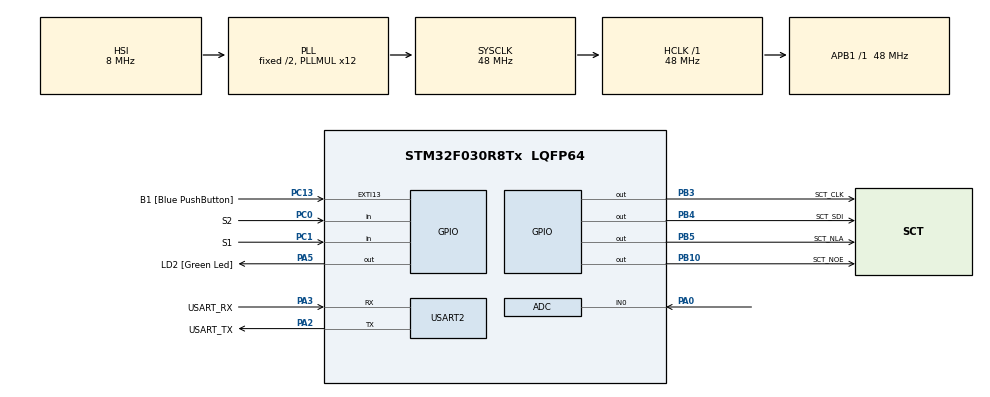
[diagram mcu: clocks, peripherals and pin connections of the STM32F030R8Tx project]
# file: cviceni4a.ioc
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ADC.ContinuousConvMode=ENABLE
ADC.DiscontinuousConvMode=DISABLE
ADC.Overrun=ADC_OVR_DATA_OVERWRITTEN
ADC.SamplingTime=ADC_SAMPLETIME_239CYCLES_5
Mcu.Family=STM32F0
Mcu.Name=STM32F030R8Tx
Mcu.Package=LQFP64
NVIC.ADC1_IRQn=true\:0\:0\:false\:false\:true\:true\:true\:true
PA0.Mode=IN0
PA0.Signal=ADC_IN0
PA13.GPIO_Label=TMS
PA13.Mode=Serial_Wire
PA13.Signal=SYS_SWDIO
PA14.GPIO_Label=TCK
PA14.Mode=Serial_Wire
PA14.Signal=SYS_SWCLK
PA2.GPIO_Label=USART_TX
PA2.GPIO_Mode=GPIO_MODE_AF_PP
PA2.GPIO_PuPd=GPIO_NOPULL
PA2.GPIO_Speed=GPIO_SPEED_FREQ_LOW
PA2.Mode=Asynchronous
PA2.Signal=USART2_TX
PA3.GPIO_Label=USART_RX
PA3.GPIO_Mode=GPIO_MODE_AF_PP
PA3.GPIO_PuPd=GPIO_NOPULL
PA3.GPIO_Speed=GPIO_SPEED_FREQ_LOW
PA3.Mode=Asynchronous
PA3.Signal=USART2_RX
PA5.GPIO_Label=LD2 [Green Led]
PA5.GPIO_Mode=GPIO_MODE_OUTPUT_PP
PA5.GPIO_PuPd=GPIO_NOPULL
PA5.GPIO_Speed=GPIO_SPEED_FREQ_LOW
PA5.Signal=GPIO_Output
PB10.GPIO_Label=SCT_NOE
PB10.Signal=GPIO_Output
PB3.GPIO_Label=SCT_CLK
PB3.Signal=GPIO_Output
PB4.GPIO_Label=SCT_SDI
PB4.Signal=GPIO_Output
PB5.GPIO_Label=SCT_NLA
PB5.Signal=GPIO_Output
PC0.GPIO_Label=S2
PC0.GPIO_PuPd=GPIO_PULLUP
PC0.Signal=GPIO_Input
PC1.GPIO_Label=S1
PC1.GPIO_PuPd=GPIO_PULLUP
PC1.Signal=GPIO_Input
PC13.GPIO_Label=B1 [Blue PushButton]
PC13.GPIO_ModeDefaultEXTI=GPIO_MODE_IT_FALLING
PC13.Signal=GPXTI13
PC14-OSC32_IN.Mode=LSE-External-Oscillator
PC14-OSC32_IN.Signal=RCC_OSC32_IN
PC15-OSC32_OUT.Mode=LSE-External-Oscillator
PC15-OSC32_OUT.Signal=RCC_OSC32_OUT
PF0-OSC_IN.Mode=HSE-External-Clock-Source
PF0-OSC_IN.Signal=RCC_OSC_IN
PF1-OSC_OUT.Signal=RCC_OSC_OUT
ProjectManager.HeapSize=0x200
ProjectManager.StackSize=0x400
ProjectManager.TargetToolchain=STM32CubeIDE
RCC.AHBFreq_Value=48000000
RCC.APB1Freq_Value=48000000
RCC.APB1TimFreq_Value=48000000
RCC.HCLKFreq_Value=48000000
RCC.PLLMUL=RCC_PLL_MUL12
RCC.SYSCLKFreq_VALUE=48000000
RCC.SYSCLKSource=RCC_SYSCLKSOURCE_PLLCLK
USART2.VirtualMode-Asynchronous=VM_ASYNC
VP_ADC_TempSens_Input.Mode=IN-TempSens
VP_ADC_Vref_Input.Mode=IN-Vrefint
board=NUCLEO-F030R8

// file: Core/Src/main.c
/* USER CODE BEGIN Header */
/**
  ******************************************************************************
  * @file           : main.c
  * @brief          : Main program body
  ******************************************************************************
  * @attention
  *
  * Copyright (c) 2023 STMicroelectronics.
  * All rights reserved.
  *
  * This software is licensed under terms that can be found in the LICENSE file
  * in the root directory of this software component.
  * If no LICENSE file comes with this software, it is provided AS-IS.
  *
  ******************************************************************************
  */
/* USER CODE END Header */
#include "main.h"

/* USER CODE BEGIN Includes */
#include "sct.h"
/* USER CODE END Includes */

/* USER CODE BEGIN PD */
#define ADC_Q 12
#define DELAY 1000
/* Temperature sensor calibration value address */
#define TEMP110_CAL_ADDR ((uint16_t*) ((uint32_t) 0x1FFFF7C2))
#define TEMP30_CAL_ADDR ((uint16_t*) ((uint32_t) 0x1FFFF7B8))
/* Internal voltage reference calibration value address */
#define VREFINT_CAL_ADDR ((uint16_t*) ((uint32_t) 0x1FFFF7BA))
/* USER CODE END PD */

ADC_HandleTypeDef hadc;

UART_HandleTypeDef huart2;

/* USER CODE BEGIN PV */
static volatile uint32_t counter;
// ADC potentiometer (channel 0)
static volatile uint32_t raw_pot;
static volatile uint32_t avg_pot;
// temperature (channel 1)
static volatile uint32_t raw_temp;
// voltage (channel 2)
static volatile uint32_t raw_volt;

// channels
static volatile uint8_t channel;
/* USER CODE END PV */

void SystemClock_Config(void);
static void MX_GPIO_Init(void);
static void MX_USART2_UART_Init(void);
static void MX_ADC_Init(void);

/* USER CODE BEGIN 0 */
void HAL_ADC_ConvCpltCallback(ADC_HandleTypeDef* hadc)
{
	static uint8_t channel;

	switch (channel)
		{
		case 0:
			raw_pot = avg_pot >> ADC_Q;
			avg_pot -= raw_pot;
			avg_pot += HAL_ADC_GetValue(hadc);
			break;
		case 2:
			raw_volt = HAL_ADC_GetValue(hadc);
			break;
		case 1:
			raw_temp = HAL_ADC_GetValue(hadc);
			break;
		}

	if (__HAL_ADC_GET_FLAG(hadc, ADC_FLAG_EOS)) channel = 0;
	else channel++;
}

static uint32_t bit2value(uint32_t bit_value)
{
	return (bit_value * (500+1)/4096);
}

static enum { SHOW_POT, SHOW_VOLT, SHOW_TEMP } state = SHOW_POT;

static void check_state()
{
	if (state != SHOW_POT)  {
		if (HAL_GetTick() > counter + DELAY)  {
			state = SHOW_POT;
		}
	}
}

static void check_buttons()
{
	if (!HAL_GPIO_ReadPin(S1_GPIO_Port, S1_Pin))  {
		state = SHOW_VOLT;
		counter = HAL_GetTick();
	}
	else if (!HAL_GPIO_ReadPin(S2_GPIO_Port, S2_Pin))  {
		state = SHOW_TEMP;
		counter = HAL_GetTick();
	}
}
/* USER CODE END 0 */

int main(void)
{

  /* MCU Configuration--------------------------------------------------------*/

  /* Reset of all peripherals, Initializes the Flash interface and the Systick. */
  HAL_Init();

  /* Configure the system clock */
  SystemClock_Config();

  /* Initialize all configured peripherals */
  MX_GPIO_Init();
  MX_USART2_UART_Init();
  MX_ADC_Init();
  /* USER CODE BEGIN 2 */
  sct_init();
  HAL_ADCEx_Calibration_Start(&hadc);
  HAL_ADC_Start_IT(&hadc);
  /* USER CODE END 2 */

  /* Infinite loop */
  while (1)
  {

    /* USER CODE BEGIN 3 */

	  // calibration of voltage and temperature values
	  uint32_t voltage = 330 * (*VREFINT_CAL_ADDR) / raw_volt;
	  int32_t temperature = (raw_temp - (int32_t)(*TEMP30_CAL_ADDR));
	  temperature = temperature * (int32_t)(110 - 30);
	  temperature = temperature / (int32_t)(*TEMP110_CAL_ADDR - *TEMP30_CAL_ADDR);
	  temperature = temperature + 30;

	  switch(state)
	  {
	  	  case SHOW_POT:
	  		  sct_value(bit2value(raw_pot), (raw_pot * 9) / 4096);
		  break;
	  	  case SHOW_TEMP:
	  		  sct_value((temperature), (temperature * 9) / 4096);
	  	  break;
	  	  case SHOW_VOLT:
	  		  sct_value((voltage), (voltage* 9) / 4096);
	  	  break;
	  }

	  check_buttons();
	  check_state();

	  HAL_Delay(50);
  }
  /* USER CODE END 3 */
}

void SystemClock_Config(void)
{
  RCC_OscInitTypeDef RCC_OscInitStruct = {0};
  RCC_ClkInitTypeDef RCC_ClkInitStruct = {0};

  /** Initializes the RCC Oscillators according to the specified parameters
  * in the RCC_OscInitTypeDef structure.
  */
  RCC_OscInitStruct.OscillatorType = RCC_OSCILLATORTYPE_HSI|RCC_OSCILLATORTYPE_HSI14;
  RCC_OscInitStruct.HSIState = RCC_HSI_ON;
  RCC_OscInitStruct.HSI14State = RCC_HSI14_ON;
  RCC_OscInitStruct.HSICalibrationValue = RCC_HSICALIBRATION_DEFAULT;
  RCC_OscInitStruct.HSI14CalibrationValue = 16;
  RCC_OscInitStruct.PLL.PLLState = RCC_PLL_ON;
  RCC_OscInitStruct.PLL.PLLSource = RCC_PLLSOURCE_HSI;
  RCC_OscInitStruct.PLL.PLLMUL = RCC_PLL_MUL12;
  RCC_OscInitStruct.PLL.PREDIV = RCC_PREDIV_DIV1;
  if (HAL_RCC_OscConfig(&RCC_OscInitStruct) != HAL_OK)
  {
    Error_Handler();
  }

  /** Initializes the CPU, AHB and APB buses clocks
  */
  RCC_ClkInitStruct.ClockType = RCC_CLOCKTYPE_HCLK|RCC_CLOCKTYPE_SYSCLK
                              |RCC_CLOCKTYPE_PCLK1;
  RCC_ClkInitStruct.SYSCLKSource = RCC_SYSCLKSOURCE_PLLCLK;
  RCC_ClkInitStruct.AHBCLKDivider = RCC_SYSCLK_DIV1;
  RCC_ClkInitStruct.APB1CLKDivider = RCC_HCLK_DIV1;

  if (HAL_RCC_ClockConfig(&RCC_ClkInitStruct, FLASH_LATENCY_1) != HAL_OK)
  {
    Error_Handler();
  }
}

static void MX_ADC_Init(void)
{

  ADC_ChannelConfTypeDef sConfig = {0};

  /** Configure the global features of the ADC (Clock, Resolution, Data Alignment and number of conversion)
  */
  hadc.Instance = ADC1;
  hadc.Init.ClockPrescaler = ADC_CLOCK_ASYNC_DIV1;
  hadc.Init.Resolution = ADC_RESOLUTION_12B;
  hadc.Init.DataAlign = ADC_DATAALIGN_RIGHT;
  hadc.Init.ScanConvMode = ADC_SCAN_DIRECTION_FORWARD;
  hadc.Init.EOCSelection = ADC_EOC_SINGLE_CONV;
  hadc.Init.LowPowerAutoWait = DISABLE;
  hadc.Init.LowPowerAutoPowerOff = DISABLE;
  hadc.Init.ContinuousConvMode = ENABLE;
  hadc.Init.DiscontinuousConvMode = DISABLE;
  hadc.Init.ExternalTrigConv = ADC_SOFTWARE_START;
  hadc.Init.ExternalTrigConvEdge = ADC_EXTERNALTRIGCONVEDGE_NONE;
  hadc.Init.DMAContinuousRequests = DISABLE;
  hadc.Init.Overrun = ADC_OVR_DATA_OVERWRITTEN;
  if (HAL_ADC_Init(&hadc) != HAL_OK)
  {
    Error_Handler();
  }

  /** Configure for the selected ADC regular channel to be converted.
  */
  sConfig.Channel = ADC_CHANNEL_0;
  sConfig.Rank = ADC_RANK_CHANNEL_NUMBER;
  sConfig.SamplingTime = ADC_SAMPLETIME_239CYCLES_5;
  if (HAL_ADC_ConfigChannel(&hadc, &sConfig) != HAL_OK)
  {
    Error_Handler();
  }

  /** Configure for the selected ADC regular channel to be converted.
  */
  sConfig.Channel = ADC_CHANNEL_TEMPSENSOR;
  if (HAL_ADC_ConfigChannel(&hadc, &sConfig) != HAL_OK)
  {
    Error_Handler();
  }

  /** Configure for the selected ADC regular channel to be converted.
  */
  sConfig.Channel = ADC_CHANNEL_VREFINT;
  if (HAL_ADC_ConfigChannel(&hadc, &sConfig) != HAL_OK)
  {
    Error_Handler();
  }

}

static void MX_USART2_UART_Init(void)
{

  huart2.Instance = USART2;
  huart2.Init.BaudRate = 38400;
  huart2.Init.WordLength = UART_WORDLENGTH_8B;
  huart2.Init.StopBits = UART_STOPBITS_1;
  huart2.Init.Parity = UART_PARITY_NONE;
  huart2.Init.Mode = UART_MODE_TX_RX;
  huart2.Init.HwFlowCtl = UART_HWCONTROL_NONE;
  huart2.Init.OverSampling = UART_OVERSAMPLING_16;
  huart2.Init.OneBitSampling = UART_ONE_BIT_SAMPLE_DISABLE;
  huart2.AdvancedInit.AdvFeatureInit = UART_ADVFEATURE_NO_INIT;
  if (HAL_UART_Init(&huart2) != HAL_OK)
  {
    Error_Handler();
  }

}

static void MX_GPIO_Init(void)
{
  GPIO_InitTypeDef GPIO_InitStruct = {0};

  /* GPIO Ports Clock Enable */
  __HAL_RCC_GPIOC_CLK_ENABLE();
  __HAL_RCC_GPIOF_CLK_ENABLE();
  __HAL_RCC_GPIOA_CLK_ENABLE();
  __HAL_RCC_GPIOB_CLK_ENABLE();

  /*Configure GPIO pin Output Level */
  HAL_GPIO_WritePin(LD2_GPIO_Port, LD2_Pin, GPIO_PIN_RESET);

  /*Configure GPIO pin Output Level */
  HAL_GPIO_WritePin(GPIOB, SCT_NOE_Pin|SCT_CLK_Pin|SCT_SDI_Pin|SCT_NLA_Pin, GPIO_PIN_RESET);

  /*Configure GPIO pin : B1_Pin */
  GPIO_InitStruct.Pin = B1_Pin;
  GPIO_InitStruct.Mode = GPIO_MODE_IT_FALLING;
  GPIO_InitStruct.Pull = GPIO_NOPULL;
  HAL_GPIO_Init(B1_GPIO_Port, &GPIO_InitStruct);

  /*Configure GPIO pins : S2_Pin S1_Pin */
  GPIO_InitStruct.Pin = S2_Pin|S1_Pin;
  GPIO_InitStruct.Mode = GPIO_MODE_INPUT;
  GPIO_InitStruct.Pull = GPIO_PULLUP;
  HAL_GPIO_Init(GPIOC, &GPIO_InitStruct);

  /*Configure GPIO pin : LD2_Pin */
  GPIO_InitStruct.Pin = LD2_Pin;
  GPIO_InitStruct.Mode = GPIO_MODE_OUTPUT_PP;
  GPIO_InitStruct.Pull = GPIO_NOPULL;
  GPIO_InitStruct.Speed = GPIO_SPEED_FREQ_LOW;
  HAL_GPIO_Init(LD2_GPIO_Port, &GPIO_InitStruct);

  /*Configure GPIO pins : SCT_NOE_Pin SCT_CLK_Pin SCT_SDI_Pin SCT_NLA_Pin */
  GPIO_InitStruct.Pin = SCT_NOE_Pin|SCT_CLK_Pin|SCT_SDI_Pin|SCT_NLA_Pin;
  GPIO_InitStruct.Mode = GPIO_MODE_OUTPUT_PP;
  GPIO_InitStruct.Pull = GPIO_NOPULL;
  GPIO_InitStruct.Speed = GPIO_SPEED_FREQ_LOW;
  HAL_GPIO_Init(GPIOB, &GPIO_InitStruct);

}

void Error_Handler(void)
{
  __disable_irq();
  while (1)
  {
  }
}
